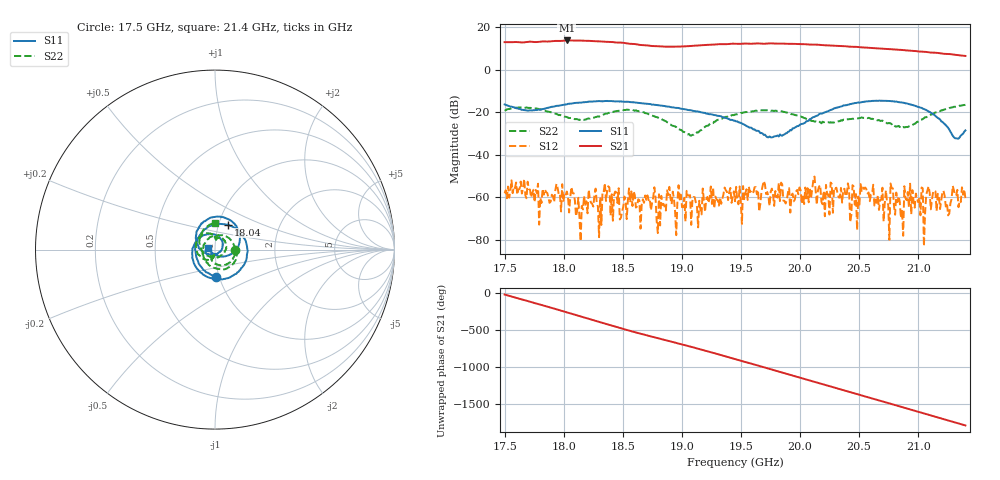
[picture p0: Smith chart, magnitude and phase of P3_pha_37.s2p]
!Created with skrf (http://scikit-rf.org).
# GHz S RI R 50.0
!freq ReS11 ImS11 ReS21 ImS21 ReS12 ImS12 ReS22 ImS22
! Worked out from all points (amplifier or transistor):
!   401 points, 17.5 GHz to 21.4 GHz, reference 50 ohm
!   highest |S21| = 13.7 dB at 18.03 GHz (marker M1)
!   |S21| within 3 dB of that: start of sweep to 20.47 GHz
!   unconditionally stable (mu >= 1): start of sweep to end of sweep
!   at 18.14 GHz: K = 1084.25, MAG = 13.8 dB, |S12| = -80.7 dB
!   at 19.45 GHz: K = 150.92, MAG = 12.2 dB, |S12| = -61.9 dB
!   at 21.4 GHz: K = 243.34, MAG = 6.5 dB, |S12| = -60.4 dB
!   S11 on the Smith chart (normalised r, x): 17.5 GHz: 0.96, -0.30; 18.04 GHz: 1.11, +0.32; 21.4 GHz: 0.93, +0.01
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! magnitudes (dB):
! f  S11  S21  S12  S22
! 17.5 GHz  -16.4  12.9  -58.1  -19.2
! 18.03 GHz  -16.3  13.7  -57.3  -22.3
! 18.04 GHz  -16.1  13.7  -59.7  -22.5
! 18.15 GHz  -15.5  13.6  -64.1  -23.4
! 18.25 GHz  -15.0  13.4  -64.4  -22.6
! 18.3 GHz  -14.8  13.3  -78.8  -22.1
! 18.37 GHz  -14.7  13.1  -57.1  -20.6
! 18.49 GHz  -15.1  12.7  -66.6  -19.0
! 18.57 GHz  -15.3  12.1  -57.2  -19.1
! 18.63 GHz  -15.6  11.7  -60.9  -19.5
! 18.76 GHz  -16.4  11.1  -60.1  -21.8
! 18.81 GHz  -16.8  11.0  -58.6  -22.9
! 18.89 GHz  -17.4  10.8  -55.1  -25.5
! 18.93 GHz  -17.8  10.8  -60.9  -26.5
! 19.08 GHz  -19.1  11.1  -73.0  -31.0
! 19.45 GHz  -24.0  12.2  -61.9  -21.1
! 19.75 GHz  -31.8  12.4  -57.3  -19.3
! 20.1 GHz  -22.6  11.8  -56.4  -24.2
! 20.23 GHz  -19.7  11.4  -58.5  -24.7
! 20.53 GHz  -15.2  10.4  -55.4  -22.6
! 20.76 GHz  -14.8  9.7  -80.0  -25.1
! 21.4 GHz  -28.6  6.4  -60.4  -16.5
